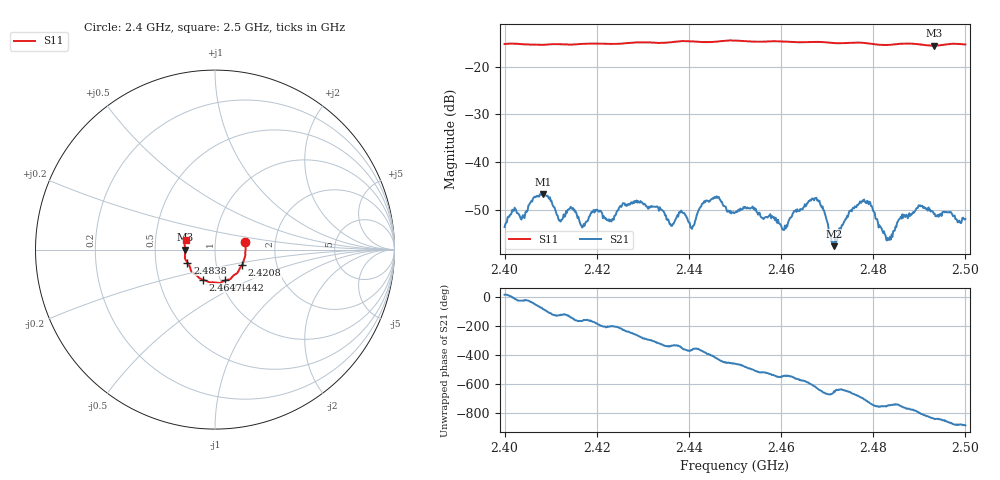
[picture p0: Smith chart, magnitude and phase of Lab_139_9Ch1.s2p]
# Hz S RI R 50
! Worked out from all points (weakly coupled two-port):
!   601 points, 2.4 GHz to 2.5 GHz, reference 50 ohm
!   highest |S21| = -46.72 dB at 2.4083 GHz (marker M1); lowest = -57.7 dB at 2.4715 GHz (marker M2)
!   lowest |S11| = -15.6 dB at 2.4932 GHz (marker M3), VSWR 1.40, Z = 35.8 - j0.0825 ohm
!   |S11| at or under -10 dB: start of sweep to end of sweep
!   S12 and S22 are empty: the file has one direction only
!   S11 on the Smith chart (normalised r, x): 2.4 GHz: 1.40, +0.12; 2.4208 GHz: 1.33, -0.24; 2.4442 GHz: 1.05, -0.37; 2.4647 GHz: 0.83, -0.29; 2.4838 GHz: 0.73, -0.11; 2.5 GHz: 0.72, +0.08
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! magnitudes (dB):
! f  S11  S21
! 2.4 GHz  -15.3  -53.7
! 2.4083 GHz  -15.4  -46.7
! 2.412 GHz  -15.3  -52.3
! 2.4147 GHz  -15.4  -49.8
! 2.4167 GHz  -15.2  -53.4
! 2.4208 GHz  -15.2  -50.2
! 2.4333 GHz  -15.0  -49.6
! 2.4407 GHz  -14.7  -54.0
! 2.4442 GHz  -14.9  -48.2
! 2.45 GHz  -14.5  -50.6
! 2.454 GHz  -14.8  -49.8
! 2.4607 GHz  -14.7  -54.3
! 2.4647 GHz  -14.9  -50.0
! 2.4667 GHz  -14.8  -47.7
! 2.4688 GHz  -14.8  -49.6
! 2.4715 GHz  -15.1  -57.7
! 2.4777 GHz  -15.0  -48.1
! 2.4833 GHz  -15.5  -56.3
! 2.4838 GHz  -15.4  -56.3
! 2.4898 GHz  -15.3  -49.1
! 2.4932 GHz  -15.6  -50.9
! 2.5 GHz  -15.4  -52.0
